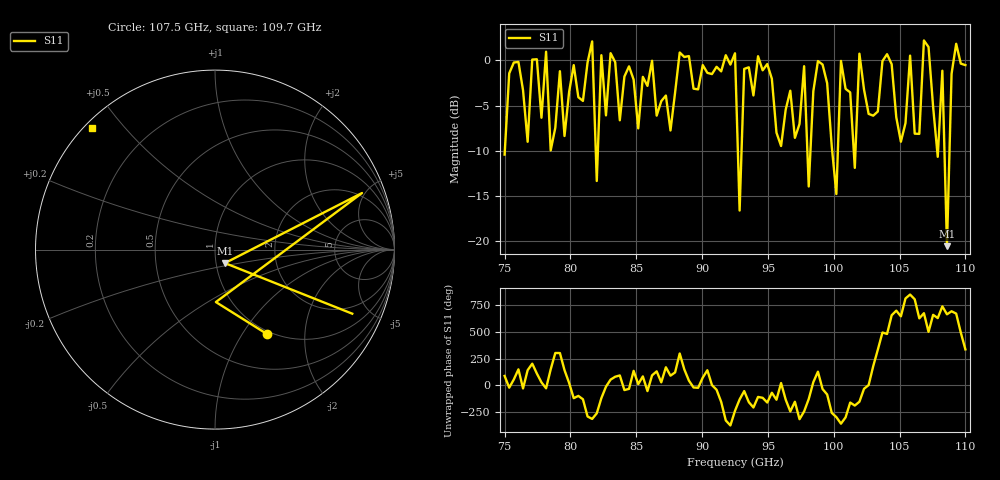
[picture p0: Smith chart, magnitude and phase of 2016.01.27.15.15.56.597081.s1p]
!Created with skrf (http://scikit-rf.org).
# GHz S RI R 50.0
!freq ReS11 ImS11
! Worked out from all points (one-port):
!   101 points, 75 GHz to 110 GHz, reference 50 ohm
!   lowest |S11| = -20.6 dB at 108.6 GHz (marker M1), VSWR 1.21, Z = 55.2 - j8.37 ohm
!   |S11| at or under -10 dB: start of sweep to 75.0171 GHz; 81.92393 GHz to 82.08441 GHz (160.5 MHz wide, 0.196 % of centre); 92.7167 GHz to 92.99796 GHz (281.3 MHz wide, 0.303 % of centre) (the widest 3 of 8)
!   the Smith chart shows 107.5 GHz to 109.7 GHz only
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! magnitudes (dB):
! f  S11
! 75 GHz  -10.4
! 78.15 GHz  1.0
! 78.5 GHz  -10.0
! 79.55 GHz  -8.4
! 81.65 GHz  2.1
! 82 GHz  -13.4
! 82.35 GHz  0.6
! 83.75 GHz  -6.6
! 88.3 GHz  0.9
! 92.5 GHz  0.8
! 92.85 GHz  -16.6
! 93.2 GHz  -0.9
! 97.05 GHz  -8.6
! 97.75 GHz  -0.6
! 98.1 GHz  -14.0
! 99.15 GHz  -0.4
! 100.2 GHz  -14.8
! 100.5 GHz  0.0
! 101.2 GHz  -3.5
! 105.1 GHz  -9.0
! 105.8 GHz  0.5
! 106.5 GHz  -8.1
! 107.2 GHz  1.5
! 107.9 GHz  -10.7
! 108.2 GHz  -1.1
! 108.6 GHz  -20.6
! 109 GHz  -1.5
! 110 GHz  -0.5
